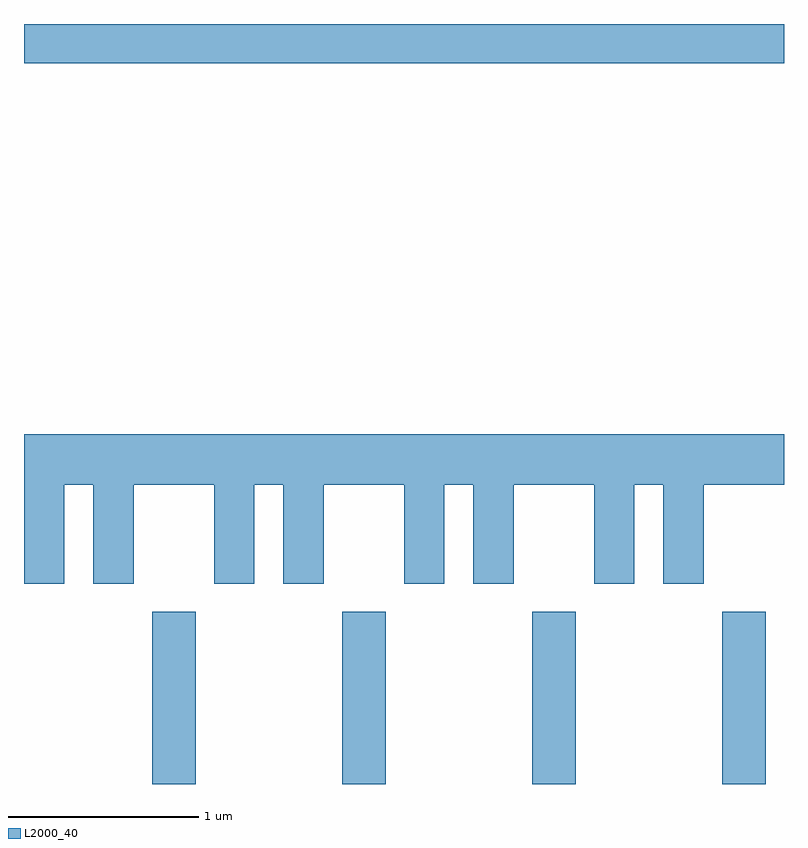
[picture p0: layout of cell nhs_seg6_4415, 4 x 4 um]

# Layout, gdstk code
import gdstk
lib = gdstk.Library(unit=1e-6, precision=1e-09)
def R(c, l, rs):  # rectangles x0, y0, x1, y1
    for r in rs: c.add(gdstk.rectangle(r[:2], r[2:], *l))
def A(c, l, x, y, w, h, nx, ny, dx, dy):  # array of equal rectangles
    R(c, l, [(x+i*dx, y+j*dy, x+i*dx+w, y+j*dy+h) for i in range(nx) for j in range(ny)])
def P(c, l, *ps):  # polygons
    for p in ps: c.add(gdstk.Polygon(p, *l))
L2000_40 = (2000, 40)

nhs_seg6_4415 = lib.new_cell('nhs_seg6_4415')
A(nhs_seg6_4415, L2000_40, 320.286, 1626.162, 0.228, 0.907, 4, 1, 1, 0)
R(nhs_seg6_4415, L2000_40, [(319.611,1629.956,323.611,1630.162)])
P(nhs_seg6_4415, L2000_40, [(319.824,1627.736),(319.976,1627.736),(319.976,1627.216),(320.189,1627.216),(320.189,1627.736),(320.611,1627.736),(320.611,1627.216),(320.824,1627.216),(320.824,1627.736),(320.976,1627.736),(320.976,1627.216),(321.189,1627.216),(321.189,1627.736),(321.611,1627.736),(321.611,1627.216),(321.824,1627.216),(321.824,1627.736),(321.976,1627.736),(321.976,1627.216),(322.189,1627.216),(322.189,1627.736),(322.611,1627.736),(322.611,1627.216),(322.824,1627.216),(322.824,1627.736),(322.976,1627.736),(322.976,1627.216),(323.189,1627.216),(323.189,1627.736),(323.611,1627.736),(323.611,1628.004),(319.611,1628.004),(319.611,1627.216),(319.824,1627.216)])

lib.write_gds('nhs_seg6_4415.gds')
